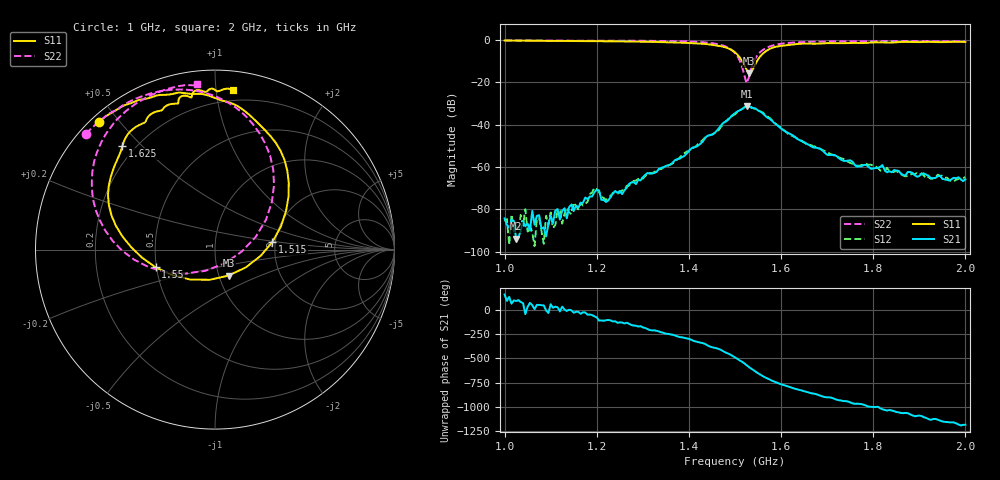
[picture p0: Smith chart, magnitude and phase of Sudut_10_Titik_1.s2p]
# Hz S RI R 50
! CMT, C1220, 16058040, 17.2.0/1
! Date: 14/08/2018 12:53:34
! Data: Format (Calibration Info)
! Freq  S11: Re/Im (F2)  S21: Re/Im (F2)  S12: Re/Im (F2)  S22: Re/Im (F2)
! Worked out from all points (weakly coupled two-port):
!   201 points, 1 GHz to 2 GHz, reference 50 ohm
!   highest |S21| = -31.33 dB at 1.525 GHz (marker M1); lowest = -93.8 dB at 1.025 GHz (marker M2)
!   lowest |S11| = -15.7 dB at 1.53 GHz (marker M3), VSWR 1.39, Z = 55.7 - j16.5 ohm
!   |S11| at or under -10 dB: 1.515 GHz to 1.548 GHz (32.5 MHz wide, 2.12 % of centre)
!   |S22| runs from -20.5 to -0.3 dB; largest |S21 - S12| = 0.0011
!   S11 on the Smith chart (normalised r, x): 1 GHz: 0.02, +0.44; 1.515 GHz: 1.93, +0.18; 1.55 GHz: 0.49, -0.11; 1.625 GHz: 0.15, +0.44; 2 GHz: 0.13, +1.11
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1e9  -0.6457 0.7135  -5.78e-05 2.07e-05  3.69e-05 -3.76e-05  -0.7195 0.645
1.025e9  -0.621 0.7336  -9.35e-07 2.03e-05  1.56e-05 3.97e-05  -0.702 0.663
1.145e9  -0.481 0.8118  0.00013 -8.84e-06  7.56e-05 -1.78e-05  -0.6026 0.7475
1.15e9  -0.4754 0.8134  8.11e-05 -4.28e-05  0.000135 -5.33e-05  -0.5977 0.7511
1.17e9  -0.4512 0.8229  0.000132 -5.56e-05  8.7e-05 -8.8e-05  -0.5772 0.7649
1.195e9  -0.4128 0.8362  0.000106 -0.000235  7.61e-05 -0.000316  -0.5481 0.7767
1.205e9  -0.3987 0.8379  -9.11e-05 -0.000265  -0.000122 -0.00023  -0.541 0.7776
1.21e9  -0.3916 0.839  -5.21e-05 -0.00016  -4.98e-05 -0.000193  -0.5388 0.7808
1.22e9  -0.3756 0.8423  -4.09e-05 -0.000144  -3.58e-05 -0.000162  -0.5313 0.7902
1.335e9  -0.167 0.8707  -0.000679 0.000606  -0.000603 0.000657  -0.3607 0.8693
1.45e9  0.2097 0.734  0.00523 -0.00238  0.00519 -0.00272  0.0463 0.8333
1.5e9  0.4098 0.2971  -0.0119 -0.0142  -0.0112 -0.0134  0.329 0.3593
1.515e9  0.3202 0.0425  -0.0231 -0.00223  -0.0232 -0.00291  0.2274 0.0714
1.525e9  0.172 -0.0989  -0.0236 0.0133  -0.0239 0.0133  0.0565 -0.0754
1.53e9  0.0765 -0.1443  -0.0172 0.0201  -0.0173 0.0202  -0.052 -0.1178
1.55e9  -0.3307 -0.0988  0.00887 0.0197  0.00816 0.0201  -0.4498 -0.0566
1.58e9  -0.5914 0.2483  0.0122 -0.0023  0.0125 -0.00287  -0.6761 0.2647
1.625e9  -0.5157 0.5777  0.000302 -0.0056  0.000463 -0.00534  -0.6498 0.5609
1.67e9  -0.3965 0.7055  -0.00235 -0.0017  -0.00254 -0.00178  -0.567 0.7001
1.76e9  -0.2379 0.8119  -0.000377 0.00105  -0.000441 0.000986  -0.4215 0.825
1.835e9  -0.1318 0.8478  0.000553 0.000573  0.000609 0.00053  -0.316 0.8772
2e9  0.101 0.8873  -0.000149 -0.000494  -0.000198 -0.000546  -0.0989 0.9219
